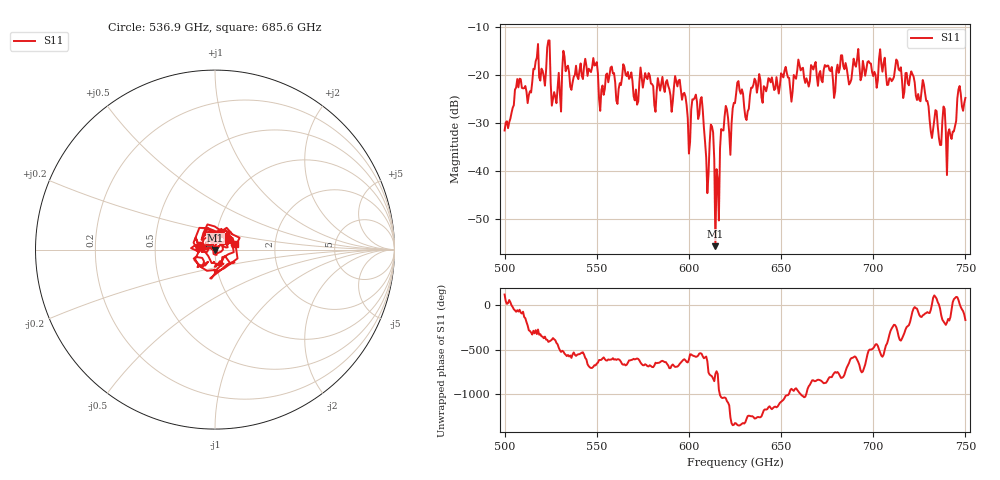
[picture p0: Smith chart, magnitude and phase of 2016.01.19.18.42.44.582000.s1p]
!Created with skrf (http://scikit-rf.org).
# GHz S RI R 50.0
!freq ReS11 ImS11
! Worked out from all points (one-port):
!   401 points, 500 GHz to 750 GHz, reference 50 ohm
!   lowest |S11| = -55.6 dB at 614.4 GHz (marker M1), VSWR 1.00, Z = 50.1 - j0.133 ohm
!   |S11| at or under -10 dB: start of sweep to end of sweep
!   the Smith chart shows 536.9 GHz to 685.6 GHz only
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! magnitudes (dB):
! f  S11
! 500 GHz  -31.5
! 507.5 GHz  -22.5
! 513.8 GHz  -23.3
! 516.9 GHz  -17.0
! 523.8 GHz  -12.7
! 526.9 GHz  -23.5
! 531.2 GHz  -18.8
! 548.8 GHz  -17.9
! 552.5 GHz  -23.0
! 562.5 GHz  -21.6
! 593.8 GHz  -22.3
! 600 GHz  -36.3
! 603.1 GHz  -24.7
! 606.9 GHz  -24.5
! 609.4 GHz  -37.1
! 612.5 GHz  -30.6
! 614.4 GHz  -55.6
! 615.6 GHz  -41.6
! 618.8 GHz  -31.5
! 622.5 GHz  -36.5
! 625 GHz  -25.8
! 656.2 GHz  -23.4
! 660.6 GHz  -18.9
! 687.5 GHz  -21.5
! 718.8 GHz  -21.6
! 741.2 GHz  -31.2
! 746.2 GHz  -22.9
! 750 GHz  -24.7
